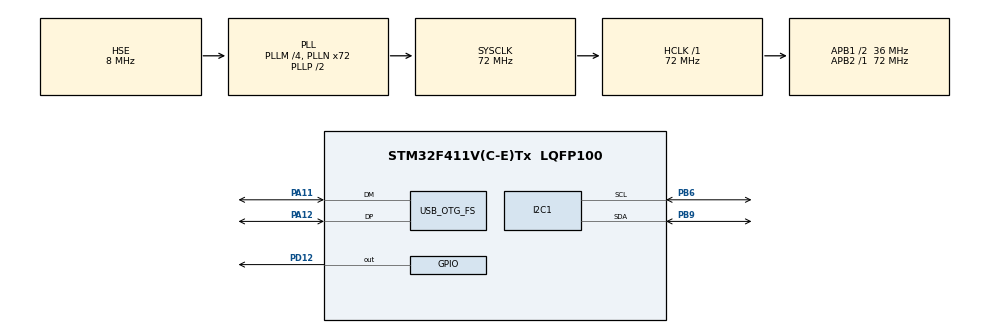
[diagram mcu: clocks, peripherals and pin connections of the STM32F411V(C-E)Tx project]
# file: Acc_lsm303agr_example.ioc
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Mcu.Family=STM32F4
Mcu.Name=STM32F411V(C-E)Tx
Mcu.Package=LQFP100
NVIC.OTG_FS_IRQn=true\:0\:0\:false\:false\:true\:false\:true\:true
NVIC.PriorityGroup=NVIC_PRIORITYGROUP_4
PA11.Mode=Device_Only
PA11.Signal=USB_OTG_FS_DM
PA12.Mode=Device_Only
PA12.Signal=USB_OTG_FS_DP
PB6.Mode=I2C
PB6.Signal=I2C1_SCL
PB9.Mode=I2C
PB9.Signal=I2C1_SDA
PD12.Signal=GPIO_Output
PH0\ -\ OSC_IN.Mode=HSE-External-Oscillator
PH0\ -\ OSC_IN.Signal=RCC_OSC_IN
PH1\ -\ OSC_OUT.Mode=HSE-External-Oscillator
PH1\ -\ OSC_OUT.Signal=RCC_OSC_OUT
ProjectManager.HeapSize=0x200
ProjectManager.StackSize=0x400
ProjectManager.TargetToolchain=STM32CubeIDE
RCC.48MHZClocksFreq_Value=48000000
RCC.AHBFreq_Value=72000000
RCC.APB1CLKDivider=RCC_HCLK_DIV2
RCC.APB1Freq_Value=36000000
RCC.APB1TimFreq_Value=72000000
RCC.APB2Freq_Value=72000000
RCC.APB2TimFreq_Value=72000000
RCC.CortexFreq_Value=72000000
RCC.HCLKFreq_Value=72000000
RCC.HSE_VALUE=8000000
RCC.HSI_VALUE=16000000
RCC.LSE_VALUE=32768
RCC.PLLM=4
RCC.PLLN=72
RCC.PLLQ=3
RCC.SYSCLKFreq_VALUE=72000000
RCC.SYSCLKSource=RCC_SYSCLKSOURCE_PLLCLK
RCC.VCOOutputFreq_Value=144000000
USB_DEVICE.CLASS_NAME_FS=CDC
USB_DEVICE.VirtualMode=Cdc
USB_DEVICE.VirtualModeFS=Cdc_FS
USB_OTG_FS.VirtualMode=Device_Only
VP_USB_DEVICE_VS_USB_DEVICE_CDC_FS.Mode=CDC_FS
board=custom

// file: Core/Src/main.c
/* USER CODE BEGIN Header */
/**
  ******************************************************************************
  * @file           : main.c
  * @brief          : Main program body
  ******************************************************************************
  * @attention
  *
  * Copyright (c) 2023 STMicroelectronics.
  * All rights reserved.
  *
  * This software is licensed under terms that can be found in the LICENSE file
  * in the root directory of this software component.
  * If no LICENSE file comes with this software, it is provided AS-IS.
  *
  ******************************************************************************
  */
/* USER CODE END Header */
#include "main.h"
#include "i2c.h"
#include "usb_device.h"
#include "gpio.h"

/* USER CODE BEGIN Includes */
#include "usbd_cdc_if.h"
#include "string.h"
#include "LSM303AGR_Lib.h"
/* USER CODE END Includes */

void SystemClock_Config(void);

/* USER CODE BEGIN 0 */
char *data = "Hello from Paul\n";

/* USER CODE END 0 */

int main(void)
{

  /* MCU Configuration--------------------------------------------------------*/

  /* Reset of all peripherals, Initializes the Flash interface and the Systick. */
  HAL_Init();

  /* Configure the system clock */
  SystemClock_Config();

  /* Initialize all configured peripherals */
  MX_GPIO_Init();
  MX_I2C1_Init();
  MX_USB_DEVICE_Init();
  /* USER CODE BEGIN 2 */

  uint8_t whoIAm = 0;
  LSM303AGR_Status_t statusRet;

  whoIAm = LSM303AGR_AccWhoIAm();
  if (whoIAm != 0x33)
	  while(1);

  whoIAm = LSM303AGR_MagWhoIAm();
  if (whoIAm != 0x40)
  	  while(1);

  statusRet = LSM303AGR_AccSetBlockDataUpdate(SET);

  uint16_t deviceAddress = LSM303AGR_ACC_ADDR_READ;
  uint16_t registerAddress = LSM303AGR_CTRL_REG4_A;
  HAL_I2C_Mem_Read(&hi2c1, deviceAddress, registerAddress, 1, &whoIAm, 1, 10);
  if (whoIAm != 0x40)
	  while(1);

  /* USER CODE END 2 */

  /* Infinite loop */
  /* USER CODE BEGIN WHILE */
  while (1)
  {
	  CDC_Transmit_FS((uint8_t *) data, strlen((const char *) data));
	  HAL_Delay(500);
    /* USER CODE END WHILE */

  }
}

void SystemClock_Config(void)
{
  RCC_OscInitTypeDef RCC_OscInitStruct = {0};
  RCC_ClkInitTypeDef RCC_ClkInitStruct = {0};

  /** Configure the main internal regulator output voltage
  */
  __HAL_RCC_PWR_CLK_ENABLE();
  __HAL_PWR_VOLTAGESCALING_CONFIG(PWR_REGULATOR_VOLTAGE_SCALE1);

  /** Initializes the RCC Oscillators according to the specified parameters
  * in the RCC_OscInitTypeDef structure.
  */
  RCC_OscInitStruct.OscillatorType = RCC_OSCILLATORTYPE_HSE;
  RCC_OscInitStruct.HSEState = RCC_HSE_ON;
  RCC_OscInitStruct.PLL.PLLState = RCC_PLL_ON;
  RCC_OscInitStruct.PLL.PLLSource = RCC_PLLSOURCE_HSE;
  RCC_OscInitStruct.PLL.PLLM = 4;
  RCC_OscInitStruct.PLL.PLLN = 72;
  RCC_OscInitStruct.PLL.PLLP = RCC_PLLP_DIV2;
  RCC_OscInitStruct.PLL.PLLQ = 3;
  if (HAL_RCC_OscConfig(&RCC_OscInitStruct) != HAL_OK)
  {
    Error_Handler();
  }

  /** Initializes the CPU, AHB and APB buses clocks
  */
  RCC_ClkInitStruct.ClockType = RCC_CLOCKTYPE_HCLK|RCC_CLOCKTYPE_SYSCLK
                              |RCC_CLOCKTYPE_PCLK1|RCC_CLOCKTYPE_PCLK2;
  RCC_ClkInitStruct.SYSCLKSource = RCC_SYSCLKSOURCE_PLLCLK;
  RCC_ClkInitStruct.AHBCLKDivider = RCC_SYSCLK_DIV1;
  RCC_ClkInitStruct.APB1CLKDivider = RCC_HCLK_DIV2;
  RCC_ClkInitStruct.APB2CLKDivider = RCC_HCLK_DIV1;

  if (HAL_RCC_ClockConfig(&RCC_ClkInitStruct, FLASH_LATENCY_2) != HAL_OK)
  {
    Error_Handler();
  }
}

void Error_Handler(void)
{
  __disable_irq();
  while (1)
  {
  }
}
